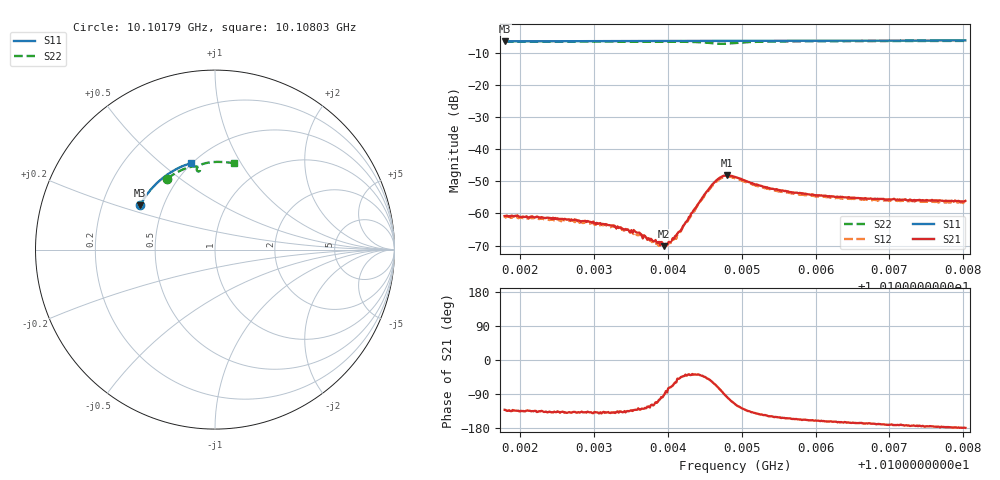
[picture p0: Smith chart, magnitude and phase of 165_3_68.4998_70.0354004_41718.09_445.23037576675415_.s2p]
#  HZ  S  RI  R  50.00
! Rohde & Schwarz Vector Network Analyzer
! Rohde-Schwarz,ZNB20-2Port,1311601062101988,3.16
! Created: UTC 3/20/2024, 4:55:58 PM
! freq[Hz]  re:S11  im:S11  re:S21  im:S21  re:S12  im:S12  re:S22  im:S22
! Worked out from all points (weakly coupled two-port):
!   401 points, 10.10179 GHz to 10.10803 GHz, reference 50 ohm
!   highest |S21| = -48.11 dB at 10.1048 GHz (marker M1); lowest = -70.2 dB at 10.10394 GHz (marker M2)
!   lowest |S11| = -6.3 dB at 10.10179 GHz (marker M3), VSWR 2.88, Z = 18.5 + j12 ohm
!   |S11| at or under -10 dB: nowhere
!   |S22| runs from -7.0 to -6.2 dB; largest |S21 - S12| = 0.0004
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1.0101791e10  -0.4167 0.2472  -0.000603 -0.000681  -0.000556 -0.000697  -0.2658 0.396
1.0102259e10  -0.4027 0.272  -0.000614 -0.000614  -0.000538 -0.000614  -0.2407 0.4134
1.0102836e10  -0.3834 0.3014  -0.000548 -0.000523  -0.000515 -0.000519  -0.208 0.4327
1.0103241e10  -0.3687 0.3211  -0.000484 -0.000433  -0.000435 -0.000459  -0.1835 0.4445
1.0103397e10  -0.3627 0.3285  -0.000423 -0.000384  -0.000382 -0.000394  -0.1737 0.4487
1.0103569e10  -0.3561 0.3365  -0.000337 -0.00038  -0.000306 -0.000372  -0.1625 0.4529
1.0103678e10  -0.3516 0.3415  -0.000283 -0.000357  -0.000237 -0.000363  -0.1552 0.4555
1.010388e10  -0.3432 0.3505  -9.73e-05 -0.000354  -6.02e-05 -0.000308  -0.141 0.4598
1.0103943e10  -0.3408 0.3533  -2.07e-05 -0.000308  1.79e-06 -0.000316  -0.1365 0.4608
1.0103974e10  -0.3394 0.3549  4.56e-05 -0.000332  4.14e-05 -0.00031  -0.134 0.4614
1.0104021e10  -0.3374 0.3568  0.000111 -0.000357  0.000115 -0.000343  -0.1306 0.4621
1.010413e10  -0.3329 0.3616  0.000318 -0.000369  0.000325 -0.000345  -0.1218 0.4636
1.0104192e10  -0.3304 0.3642  0.000414 -0.000403  0.000445 -0.000374  -0.1164 0.4638
1.0104473e10  -0.3178 0.3759  0.00134 -0.0012  0.00135 -0.00106  -0.0909 0.4576
1.0104613e10  -0.3114 0.3816  0.00146 -0.00252  0.00163 -0.00227  -0.0833 0.445
1.0104707e10  -0.3072 0.3852  0.000774 -0.00354  0.00102 -0.00334  -0.0876 0.4364
1.01048e10  -0.3031 0.3888  -0.000528 -0.0039  -0.000163 -0.00377  -0.0969 0.4366
1.010491e10  -0.2981 0.3932  -0.00163 -0.00332  -0.00129 -0.0033  -0.1017 0.4465
1.0105409e10  -0.2743 0.4119  -0.00207 -0.00126  -0.0019 -0.00138  -0.071 0.4761
1.0105954e10  -0.2468 0.4305  -0.00185 -0.000718  -0.00169 -0.000831  -0.0322 0.4854
1.0106999e10  -0.1912 0.4605  -0.00164 -0.000267  -0.00151 -0.000381  0.0372 0.4887
1.0108029e10  -0.133 0.4825  -0.00157 -2.59e-05  -0.00149 -0.000163  0.1032 0.4815
